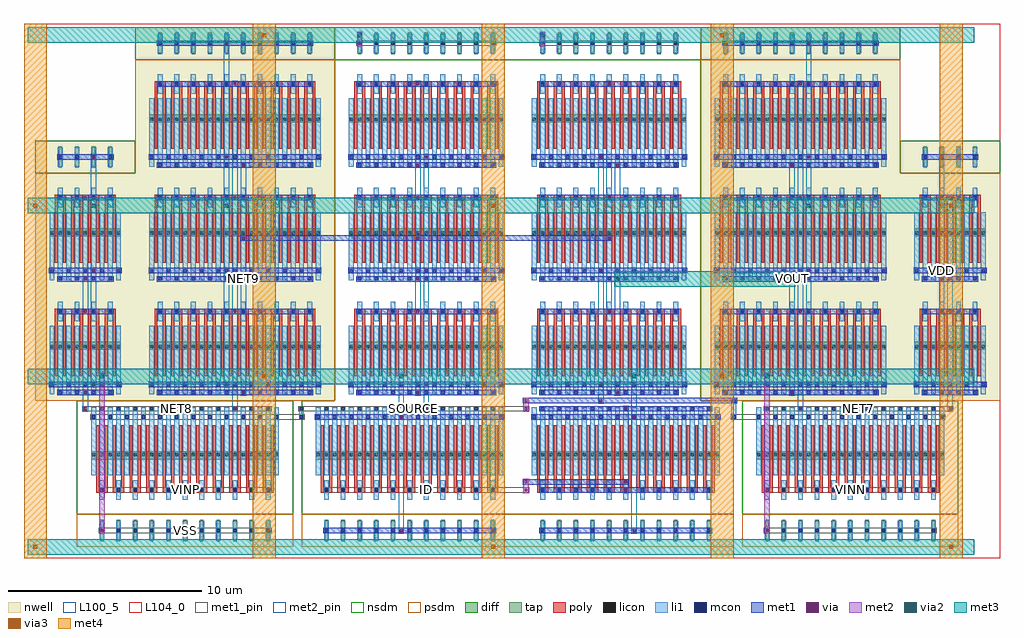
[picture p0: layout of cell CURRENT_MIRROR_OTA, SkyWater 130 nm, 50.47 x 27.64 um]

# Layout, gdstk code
import gdstk
lib = gdstk.Library(unit=1e-6, precision=1e-09)
def R(c, l, rs):  # rectangles x0, y0, x1, y1
    for r in rs: c.add(gdstk.rectangle(r[:2], r[2:], *l))
def A(c, l, x, y, w, h, nx, ny, dx, dy):  # array of equal rectangles
    R(c, l, [(x+i*dx, y+j*dy, x+i*dx+w, y+j*dy+h) for i in range(nx) for j in range(ny)])
nwell = (64, 20)
diff = (65, 20)
tap = (65, 44)
poly = (66, 20)
licon = (66, 44)
li1 = (67, 20)
mcon = (67, 44)
met1_pin = (68, 16)
met1 = (68, 20)
via = (68, 44)
met2_pin = (69, 16)
met2 = (69, 20)
via2 = (69, 44)
met3 = (70, 20)
via3 = (70, 44)
met4 = (71, 20)
nsdm = (93, 44)
psdm = (94, 20)
L100_5 = (100, 5)
L104_0 = (104, 0)

current_mirror_ota = lib.new_cell('CURRENT_MIRROR_OTA')
R(current_mirror_ota, nwell, [(0,7.56,5.16,21), (5.16,7.56,15.48,26.88), (34.4,7.56,44.72,26.88), (44.72,7.56,49.88,21)])
A(current_mirror_ota, diff, 5.895, 10.185, 8.85, 0.42, 1, 3, 0, 5.88)
A(current_mirror_ota, diff, 16.215, 10.185, 7.99, 0.42, 1, 3, 0, 5.88)
A(current_mirror_ota, diff, 25.675, 10.185, 7.99, 0.42, 1, 3, 0, 5.88)
A(current_mirror_ota, diff, 35.135, 10.185, 8.85, 0.42, 1, 3, 0, 5.88)
R(current_mirror_ota, diff, [(2.885,4.515,12.595,4.935), (14.495,4.515,24.205,4.935), (25.675,4.515,35.385,4.935), (37.285,4.515,46.995,4.935), (0.735,10.185,4.425,10.605), (45.455,10.185,49.145,10.605), (0.735,16.065,4.425,16.485), (45.455,16.065,49.145,16.485)])
A(current_mirror_ota, tap, 3.355, 0.28, 0.17, 1.12, 11, 1, 0.86, 0)
A(current_mirror_ota, tap, 14.965, 0.28, 0.17, 1.12, 11, 1, 0.86, 0)
A(current_mirror_ota, tap, 26.145, 0.28, 0.17, 1.12, 11, 1, 0.86, 0)
A(current_mirror_ota, tap, 37.755, 0.28, 0.17, 1.12, 11, 1, 0.86, 0)
A(current_mirror_ota, tap, 1.205, 19.6, 0.17, 1.12, 4, 1, 0.86, 0)
A(current_mirror_ota, tap, 45.925, 19.6, 0.17, 1.12, 4, 1, 0.86, 0)
A(current_mirror_ota, tap, 6.365, 25.48, 0.17, 1.12, 10, 1, 0.86, 0)
A(current_mirror_ota, tap, 16.685, 25.48, 0.17, 1.12, 9, 1, 0.86, 0)
A(current_mirror_ota, tap, 26.145, 25.48, 0.17, 1.12, 9, 1, 0.86, 0)
A(current_mirror_ota, tap, 35.605, 25.48, 0.17, 1.12, 10, 1, 0.86, 0)
A(current_mirror_ota, poly, 3.15, 2.805, 0.58, 0.27, 11, 1, 0.86, 0)
A(current_mirror_ota, poly, 14.76, 2.805, 0.58, 0.27, 11, 1, 0.86, 0)
A(current_mirror_ota, poly, 25.94, 2.805, 0.58, 0.27, 11, 1, 0.86, 0)
A(current_mirror_ota, poly, 37.55, 2.805, 0.58, 0.27, 11, 1, 0.86, 0)
A(current_mirror_ota, poly, 3.15, 2.94, 0.15, 3.36, 22, 1, 0.43, 0)
A(current_mirror_ota, poly, 14.76, 2.94, 0.15, 3.36, 22, 1, 0.43, 0)
A(current_mirror_ota, poly, 25.94, 2.94, 0.15, 3.36, 22, 1, 0.43, 0)
A(current_mirror_ota, poly, 37.55, 2.94, 0.15, 3.36, 22, 1, 0.43, 0)
A(current_mirror_ota, poly, 1, 8.82, 0.15, 3.36, 8, 2, 0.43, 5.88)
A(current_mirror_ota, poly, 6.16, 8.82, 0.15, 3.36, 20, 3, 0.43, 5.88)
A(current_mirror_ota, poly, 16.48, 8.82, 0.15, 3.36, 18, 3, 0.43, 5.88)
A(current_mirror_ota, poly, 25.94, 8.82, 0.15, 3.36, 18, 3, 0.43, 5.88)
A(current_mirror_ota, poly, 35.4, 8.82, 0.15, 3.36, 20, 3, 0.43, 5.88)
A(current_mirror_ota, poly, 45.72, 8.82, 0.15, 3.36, 8, 2, 0.43, 5.88)
A(current_mirror_ota, poly, 1, 12.045, 0.58, 0.27, 4, 2, 0.86, 5.88)
A(current_mirror_ota, poly, 6.16, 12.045, 0.58, 0.27, 10, 3, 0.86, 5.88)
A(current_mirror_ota, poly, 16.48, 12.045, 0.58, 0.27, 9, 3, 0.86, 5.88)
A(current_mirror_ota, poly, 25.94, 12.045, 0.58, 0.27, 9, 3, 0.86, 5.88)
A(current_mirror_ota, poly, 35.4, 12.045, 0.58, 0.27, 10, 3, 0.86, 5.88)
A(current_mirror_ota, poly, 45.72, 12.045, 0.58, 0.27, 4, 2, 0.86, 5.88)
A(current_mirror_ota, licon, 3.355, 0.755, 0.17, 0.17, 11, 2, 0.86, 2.1)
A(current_mirror_ota, licon, 14.965, 0.755, 0.17, 0.17, 11, 2, 0.86, 2.1)
A(current_mirror_ota, licon, 26.145, 0.755, 0.17, 0.17, 11, 2, 0.86, 2.1)
A(current_mirror_ota, licon, 37.755, 0.755, 0.17, 0.17, 11, 2, 0.86, 2.1)
A(current_mirror_ota, licon, 2.925, 4.685, 0.17, 0.17, 3, 1, 0.43, 0)
A(current_mirror_ota, licon, 3.785, 4.685, 0.17, 0.17, 3, 1, 0.43, 0)
A(current_mirror_ota, licon, 4.645, 4.685, 0.17, 0.17, 3, 1, 0.43, 0)
A(current_mirror_ota, licon, 5.505, 4.685, 0.17, 0.17, 3, 1, 0.43, 0)
A(current_mirror_ota, licon, 6.365, 4.685, 0.17, 0.17, 3, 1, 0.43, 0)
A(current_mirror_ota, licon, 7.225, 4.685, 0.17, 0.17, 3, 1, 0.43, 0)
A(current_mirror_ota, licon, 8.085, 4.685, 0.17, 0.17, 3, 1, 0.43, 0)
A(current_mirror_ota, licon, 8.945, 4.685, 0.17, 0.17, 3, 1, 0.43, 0)
A(current_mirror_ota, licon, 9.805, 4.685, 0.17, 0.17, 3, 1, 0.43, 0)
A(current_mirror_ota, licon, 10.665, 4.685, 0.17, 0.17, 3, 1, 0.43, 0)
A(current_mirror_ota, licon, 11.525, 4.685, 0.17, 0.17, 3, 1, 0.43, 0)
A(current_mirror_ota, licon, 14.535, 4.685, 0.17, 0.17, 3, 1, 0.43, 0)
A(current_mirror_ota, licon, 15.395, 4.685, 0.17, 0.17, 3, 1, 0.43, 0)
A(current_mirror_ota, licon, 16.255, 4.685, 0.17, 0.17, 3, 2, 0.43, 5.58)
A(current_mirror_ota, licon, 17.115, 4.685, 0.17, 0.17, 3, 2, 0.43, 5.58)
A(current_mirror_ota, licon, 17.975, 4.685, 0.17, 0.17, 3, 2, 0.43, 5.58)
A(current_mirror_ota, licon, 18.835, 4.685, 0.17, 0.17, 3, 2, 0.43, 5.58)
A(current_mirror_ota, licon, 19.695, 4.685, 0.17, 0.17, 3, 2, 0.43, 5.58)
A(current_mirror_ota, licon, 20.555, 4.685, 0.17, 0.17, 3, 2, 0.43, 5.58)
A(current_mirror_ota, licon, 21.415, 4.685, 0.17, 0.17, 3, 2, 0.43, 5.58)
A(current_mirror_ota, licon, 22.275, 4.685, 0.17, 0.17, 3, 2, 0.43, 5.58)
A(current_mirror_ota, licon, 23.135, 4.685, 0.17, 0.17, 3, 2, 0.43, 5.58)
A(current_mirror_ota, licon, 25.715, 4.685, 0.17, 0.17, 3, 2, 0.43, 5.58)
A(current_mirror_ota, licon, 26.575, 4.685, 0.17, 0.17, 3, 2, 0.43, 5.58)
A(current_mirror_ota, licon, 27.435, 4.685, 0.17, 0.17, 3, 2, 0.43, 5.58)
A(current_mirror_ota, licon, 28.295, 4.685, 0.17, 0.17, 3, 2, 0.43, 5.58)
A(current_mirror_ota, licon, 29.155, 4.685, 0.17, 0.17, 3, 2, 0.43, 5.58)
A(current_mirror_ota, licon, 30.015, 4.685, 0.17, 0.17, 3, 2, 0.43, 5.58)
A(current_mirror_ota, licon, 30.875, 4.685, 0.17, 0.17, 3, 2, 0.43, 5.58)
A(current_mirror_ota, licon, 31.735, 4.685, 0.17, 0.17, 3, 2, 0.43, 5.58)
A(current_mirror_ota, licon, 32.595, 4.685, 0.17, 0.17, 3, 2, 0.43, 5.58)
A(current_mirror_ota, licon, 33.455, 4.685, 0.17, 0.17, 3, 1, 0.43, 0)
A(current_mirror_ota, licon, 34.315, 4.685, 0.17, 0.17, 3, 1, 0.43, 0)
A(current_mirror_ota, licon, 37.325, 4.685, 0.17, 0.17, 3, 1, 0.43, 0)
A(current_mirror_ota, licon, 38.185, 4.685, 0.17, 0.17, 3, 1, 0.43, 0)
A(current_mirror_ota, licon, 39.045, 4.685, 0.17, 0.17, 3, 1, 0.43, 0)
A(current_mirror_ota, licon, 39.905, 4.685, 0.17, 0.17, 3, 1, 0.43, 0)
A(current_mirror_ota, licon, 40.765, 4.685, 0.17, 0.17, 3, 1, 0.43, 0)
A(current_mirror_ota, licon, 41.625, 4.685, 0.17, 0.17, 3, 1, 0.43, 0)
A(current_mirror_ota, licon, 42.485, 4.685, 0.17, 0.17, 3, 1, 0.43, 0)
A(current_mirror_ota, licon, 43.345, 4.685, 0.17, 0.17, 3, 1, 0.43, 0)
A(current_mirror_ota, licon, 44.205, 4.685, 0.17, 0.17, 3, 1, 0.43, 0)
A(current_mirror_ota, licon, 45.065, 4.685, 0.17, 0.17, 3, 1, 0.43, 0)
A(current_mirror_ota, licon, 45.925, 4.685, 0.17, 0.17, 3, 1, 0.43, 0)
A(current_mirror_ota, licon, 0.775, 10.265, 0.17, 0.17, 3, 2, 0.43, 5.88)
A(current_mirror_ota, licon, 1.635, 10.265, 0.17, 0.17, 3, 2, 0.43, 5.88)
A(current_mirror_ota, licon, 2.495, 10.265, 0.17, 0.17, 3, 2, 0.43, 5.88)
A(current_mirror_ota, licon, 3.355, 10.265, 0.17, 0.17, 3, 2, 0.43, 5.88)
A(current_mirror_ota, licon, 5.935, 10.265, 0.17, 0.17, 3, 3, 0.43, 5.88)
A(current_mirror_ota, licon, 6.795, 10.265, 0.17, 0.17, 3, 3, 0.43, 5.88)
A(current_mirror_ota, licon, 7.655, 10.265, 0.17, 0.17, 3, 3, 0.43, 5.88)
A(current_mirror_ota, licon, 8.515, 10.265, 0.17, 0.17, 3, 3, 0.43, 5.88)
A(current_mirror_ota, licon, 9.375, 10.265, 0.17, 0.17, 3, 3, 0.43, 5.88)
A(current_mirror_ota, licon, 10.235, 10.265, 0.17, 0.17, 3, 3, 0.43, 5.88)
A(current_mirror_ota, licon, 11.095, 10.265, 0.17, 0.17, 3, 3, 0.43, 5.88)
A(current_mirror_ota, licon, 11.955, 10.265, 0.17, 0.17, 3, 3, 0.43, 5.88)
A(current_mirror_ota, licon, 12.815, 10.265, 0.17, 0.17, 3, 3, 0.43, 5.88)
A(current_mirror_ota, licon, 13.675, 10.265, 0.17, 0.17, 3, 3, 0.43, 5.88)
A(current_mirror_ota, licon, 35.175, 10.265, 0.17, 0.17, 3, 3, 0.43, 5.88)
A(current_mirror_ota, licon, 36.035, 10.265, 0.17, 0.17, 3, 3, 0.43, 5.88)
A(current_mirror_ota, licon, 36.895, 10.265, 0.17, 0.17, 3, 3, 0.43, 5.88)
A(current_mirror_ota, licon, 37.755, 10.265, 0.17, 0.17, 3, 3, 0.43, 5.88)
A(current_mirror_ota, licon, 38.615, 10.265, 0.17, 0.17, 3, 3, 0.43, 5.88)
A(current_mirror_ota, licon, 39.475, 10.265, 0.17, 0.17, 3, 3, 0.43, 5.88)
A(current_mirror_ota, licon, 40.335, 10.265, 0.17, 0.17, 3, 3, 0.43, 5.88)
A(current_mirror_ota, licon, 41.195, 10.265, 0.17, 0.17, 3, 3, 0.43, 5.88)
A(current_mirror_ota, licon, 42.055, 10.265, 0.17, 0.17, 3, 3, 0.43, 5.88)
A(current_mirror_ota, licon, 42.915, 10.265, 0.17, 0.17, 3, 3, 0.43, 5.88)
A(current_mirror_ota, licon, 45.495, 10.265, 0.17, 0.17, 3, 2, 0.43, 5.88)
A(current_mirror_ota, licon, 46.355, 10.265, 0.17, 0.17, 3, 2, 0.43, 5.88)
A(current_mirror_ota, licon, 47.215, 10.265, 0.17, 0.17, 3, 2, 0.43, 5.88)
A(current_mirror_ota, licon, 48.075, 10.265, 0.17, 0.17, 3, 2, 0.43, 5.88)
A(current_mirror_ota, licon, 1.205, 12.095, 0.17, 0.17, 4, 2, 0.86, 5.88)
A(current_mirror_ota, licon, 6.365, 12.095, 0.17, 0.17, 10, 3, 0.86, 5.88)
A(current_mirror_ota, licon, 16.685, 12.095, 0.17, 0.17, 9, 3, 0.86, 5.88)
A(current_mirror_ota, licon, 26.145, 12.095, 0.17, 0.17, 9, 3, 0.86, 5.88)
A(current_mirror_ota, licon, 35.605, 12.095, 0.17, 0.17, 10, 3, 0.86, 5.88)
A(current_mirror_ota, licon, 45.925, 12.095, 0.17, 0.17, 4, 2, 0.86, 5.88)
A(current_mirror_ota, licon, 16.255, 16.145, 0.17, 0.17, 3, 2, 0.43, 5.88)
A(current_mirror_ota, licon, 17.115, 16.145, 0.17, 0.17, 3, 2, 0.43, 5.88)
A(current_mirror_ota, licon, 17.975, 16.145, 0.17, 0.17, 3, 2, 0.43, 5.88)
A(current_mirror_ota, licon, 18.835, 16.145, 0.17, 0.17, 3, 2, 0.43, 5.88)
A(current_mirror_ota, licon, 19.695, 16.145, 0.17, 0.17, 3, 2, 0.43, 5.88)
A(current_mirror_ota, licon, 20.555, 16.145, 0.17, 0.17, 3, 2, 0.43, 5.88)
A(current_mirror_ota, licon, 21.415, 16.145, 0.17, 0.17, 3, 2, 0.43, 5.88)
A(current_mirror_ota, licon, 22.275, 16.145, 0.17, 0.17, 3, 2, 0.43, 5.88)
A(current_mirror_ota, licon, 23.135, 16.145, 0.17, 0.17, 3, 2, 0.43, 5.88)
A(current_mirror_ota, licon, 25.715, 16.145, 0.17, 0.17, 3, 2, 0.43, 5.88)
A(current_mirror_ota, licon, 26.575, 16.145, 0.17, 0.17, 3, 2, 0.43, 5.88)
A(current_mirror_ota, licon, 27.435, 16.145, 0.17, 0.17, 3, 2, 0.43, 5.88)
A(current_mirror_ota, licon, 28.295, 16.145, 0.17, 0.17, 3, 2, 0.43, 5.88)
A(current_mirror_ota, licon, 29.155, 16.145, 0.17, 0.17, 3, 2, 0.43, 5.88)
A(current_mirror_ota, licon, 30.015, 16.145, 0.17, 0.17, 3, 2, 0.43, 5.88)
A(current_mirror_ota, licon, 30.875, 16.145, 0.17, 0.17, 3, 2, 0.43, 5.88)
A(current_mirror_ota, licon, 31.735, 16.145, 0.17, 0.17, 3, 2, 0.43, 5.88)
A(current_mirror_ota, licon, 32.595, 16.145, 0.17, 0.17, 3, 2, 0.43, 5.88)
R(current_mirror_ota, licon, [(1.205,20.075,1.375,20.245), (1.205,20.075,1.375,20.245), (2.065,20.075,2.235,20.245), (2.065,20.075,2.235,20.245), (2.925,20.075,3.095,20.245), (2.925,20.075,3.095,20.245), (3.785,20.075,3.955,20.245), (3.785,20.075,3.955,20.245), (45.925,20.075,46.095,20.245), (45.925,20.075,46.095,20.245), (46.785,20.075,46.955,20.245), (46.785,20.075,46.955,20.245), (47.645,20.075,47.815,20.245), (47.645,20.075,47.815,20.245), (48.505,20.075,48.675,20.245), (48.505,20.075,48.675,20.245), (6.365,25.955,6.535,26.125), (6.365,25.955,6.535,26.125), (6.365,25.955,6.535,26.125), (7.225,25.955,7.395,26.125), (7.225,25.955,7.395,26.125), (7.225,25.955,7.395,26.125), (8.085,25.955,8.255,26.125), (8.085,25.955,8.255,26.125), (8.085,25.955,8.255,26.125), (8.945,25.955,9.115,26.125), (8.945,25.955,9.115,26.125), (8.945,25.955,9.115,26.125), (9.805,25.955,9.975,26.125), (9.805,25.955,9.975,26.125), (9.805,25.955,9.975,26.125), (10.665,25.955,10.835,26.125), (10.665,25.955,10.835,26.125), (10.665,25.955,10.835,26.125), (11.525,25.955,11.695,26.125), (11.525,25.955,11.695,26.125), (11.525,25.955,11.695,26.125), (12.385,25.955,12.555,26.125), (12.385,25.955,12.555,26.125), (12.385,25.955,12.555,26.125), (13.245,25.955,13.415,26.125), (13.245,25.955,13.415,26.125), (13.245,25.955,13.415,26.125), (14.105,25.955,14.275,26.125), (14.105,25.955,14.275,26.125), (14.105,25.955,14.275,26.125), (16.685,25.955,16.855,26.125), (16.685,25.955,16.855,26.125), (16.685,25.955,16.855,26.125), (17.545,25.955,17.715,26.125), (17.545,25.955,17.715,26.125), (17.545,25.955,17.715,26.125), (18.405,25.955,18.575,26.125), (18.405,25.955,18.575,26.125), (18.405,25.955,18.575,26.125), (19.265,25.955,19.435,26.125), (19.265,25.955,19.435,26.125), (19.265,25.955,19.435,26.125), (20.125,25.955,20.295,26.125), (20.125,25.955,20.295,26.125), (20.125,25.955,20.295,26.125), (20.985,25.955,21.155,26.125), (20.985,25.955,21.155,26.125), (20.985,25.955,21.155,26.125), (21.845,25.955,22.015,26.125), (21.845,25.955,22.015,26.125), (21.845,25.955,22.015,26.125), (22.705,25.955,22.875,26.125), (22.705,25.955,22.875,26.125), (22.705,25.955,22.875,26.125), (23.565,25.955,23.735,26.125), (23.565,25.955,23.735,26.125), (23.565,25.955,23.735,26.125), (26.145,25.955,26.315,26.125), (26.145,25.955,26.315,26.125), (26.145,25.955,26.315,26.125), (27.005,25.955,27.175,26.125), (27.005,25.955,27.175,26.125), (27.005,25.955,27.175,26.125), (27.865,25.955,28.035,26.125), (27.865,25.955,28.035,26.125), (27.865,25.955,28.035,26.125), (28.725,25.955,28.895,26.125), (28.725,25.955,28.895,26.125), (28.725,25.955,28.895,26.125), (29.585,25.955,29.755,26.125), (29.585,25.955,29.755,26.125), (29.585,25.955,29.755,26.125), (30.445,25.955,30.615,26.125), (30.445,25.955,30.615,26.125), (30.445,25.955,30.615,26.125), (31.305,25.955,31.475,26.125), (31.305,25.955,31.475,26.125), (31.305,25.955,31.475,26.125), (32.165,25.955,32.335,26.125), (32.165,25.955,32.335,26.125), (32.165,25.955,32.335,26.125), (33.025,25.955,33.195,26.125), (33.025,25.955,33.195,26.125), (33.025,25.955,33.195,26.125), (35.605,25.955,35.775,26.125), (35.605,25.955,35.775,26.125), (35.605,25.955,35.775,26.125), (36.465,25.955,36.635,26.125), (36.465,25.955,36.635,26.125), (36.465,25.955,36.635,26.125), (37.325,25.955,37.495,26.125), (37.325,25.955,37.495,26.125), (37.325,25.955,37.495,26.125), (38.185,25.955,38.355,26.125), (38.185,25.955,38.355,26.125), (38.185,25.955,38.355,26.125), (39.045,25.955,39.215,26.125), (39.045,25.955,39.215,26.125), (39.045,25.955,39.215,26.125), (39.905,25.955,40.075,26.125), (39.905,25.955,40.075,26.125), (39.905,25.955,40.075,26.125), (40.765,25.955,40.935,26.125), (40.765,25.955,40.935,26.125), (40.765,25.955,40.935,26.125), (41.625,25.955,41.795,26.125), (41.625,25.955,41.795,26.125), (41.625,25.955,41.795,26.125), (42.485,25.955,42.655,26.125), (42.485,25.955,42.655,26.125), (42.485,25.955,42.655,26.125), (43.345,25.955,43.515,26.125), (43.345,25.955,43.515,26.125), (43.345,25.955,43.515,26.125)])
A(current_mirror_ota, li1, 3.315, 0.335, 0.25, 1.01, 11, 2, 0.86, 2.1)
A(current_mirror_ota, li1, 14.925, 0.335, 0.25, 1.01, 11, 2, 0.86, 2.1)
A(current_mirror_ota, li1, 26.105, 0.335, 0.25, 1.01, 11, 2, 0.86, 2.1)
A(current_mirror_ota, li1, 37.715, 0.335, 0.25, 1.01, 11, 2, 0.86, 2.1)
A(current_mirror_ota, li1, 2.885, 3.695, 0.25, 3.53, 23, 1, 0.43, 0)
A(current_mirror_ota, li1, 14.495, 3.695, 0.25, 3.53, 23, 1, 0.43, 0)
A(current_mirror_ota, li1, 25.675, 3.695, 0.25, 3.53, 23, 1, 0.43, 0)
A(current_mirror_ota, li1, 37.285, 3.695, 0.25, 3.53, 23, 1, 0.43, 0)
A(current_mirror_ota, li1, 0.735, 7.895, 0.25, 3.53, 9, 2, 0.43, 5.88)
A(current_mirror_ota, li1, 5.895, 7.895, 0.25, 3.53, 21, 3, 0.43, 5.88)
A(current_mirror_ota, li1, 16.215, 7.895, 0.25, 3.53, 19, 3, 0.43, 5.88)
A(current_mirror_ota, li1, 25.675, 7.895, 0.25, 3.53, 19, 3, 0.43, 5.88)
A(current_mirror_ota, li1, 35.135, 7.895, 0.25, 3.53, 21, 3, 0.43, 5.88)
A(current_mirror_ota, li1, 45.455, 7.895, 0.25, 3.53, 9, 2, 0.43, 5.88)
A(current_mirror_ota, li1, 1.165, 11.675, 0.25, 1.01, 4, 2, 0.86, 5.88)
A(current_mirror_ota, li1, 6.325, 11.675, 0.25, 1.01, 10, 3, 0.86, 5.88)
A(current_mirror_ota, li1, 16.645, 11.675, 0.25, 1.01, 9, 3, 0.86, 5.88)
A(current_mirror_ota, li1, 26.105, 11.675, 0.25, 1.01, 9, 3, 0.86, 5.88)
A(current_mirror_ota, li1, 35.565, 11.675, 0.25, 1.01, 10, 3, 0.86, 5.88)
A(current_mirror_ota, li1, 45.885, 11.675, 0.25, 1.01, 4, 2, 0.86, 5.88)
A(current_mirror_ota, li1, 1.165, 19.655, 0.25, 1.01, 4, 1, 0.86, 0)
A(current_mirror_ota, li1, 45.885, 19.655, 0.25, 1.01, 4, 1, 0.86, 0)
A(current_mirror_ota, li1, 6.325, 25.535, 0.25, 1.01, 10, 1, 0.86, 0)
A(current_mirror_ota, li1, 16.645, 25.535, 0.25, 1.01, 9, 1, 0.86, 0)
A(current_mirror_ota, li1, 26.105, 25.535, 0.25, 1.01, 9, 1, 0.86, 0)
A(current_mirror_ota, li1, 35.565, 25.535, 0.25, 1.01, 10, 1, 0.86, 0)
R(current_mirror_ota, li1, [(13.635,6.635,13.885,7.225), (35.995,6.635,36.245,7.645)])
A(current_mirror_ota, mcon, 3.355, 0.755, 0.17, 0.17, 11, 2, 0.86, 2.1)
A(current_mirror_ota, mcon, 14.965, 0.755, 0.17, 0.17, 11, 2, 0.86, 2.1)
A(current_mirror_ota, mcon, 26.145, 0.755, 0.17, 0.17, 11, 2, 0.86, 2.1)
A(current_mirror_ota, mcon, 37.755, 0.755, 0.17, 0.17, 11, 2, 0.86, 2.1)
A(current_mirror_ota, mcon, 2.925, 6.635, 0.17, 0.17, 12, 1, 0.86, 0)
A(current_mirror_ota, mcon, 13.675, 6.635, 0.17, 0.17, 13, 1, 0.86, 0)
A(current_mirror_ota, mcon, 25.715, 6.635, 0.17, 0.17, 13, 1, 0.86, 0)
A(current_mirror_ota, mcon, 37.325, 6.635, 0.17, 0.17, 12, 1, 0.86, 0)
A(current_mirror_ota, mcon, 3.355, 7.055, 0.17, 0.17, 11, 1, 0.86, 0)
A(current_mirror_ota, mcon, 14.965, 7.055, 0.17, 0.17, 11, 1, 0.86, 0)
A(current_mirror_ota, mcon, 26.145, 7.055, 0.17, 0.17, 11, 1, 0.86, 0)
A(current_mirror_ota, mcon, 37.755, 7.055, 0.17, 0.17, 11, 1, 0.86, 0)
A(current_mirror_ota, mcon, 1.205, 7.895, 0.17, 0.17, 4, 2, 0.86, 4.2)
A(current_mirror_ota, mcon, 6.365, 7.895, 0.17, 0.17, 10, 2, 0.86, 4.2)
A(current_mirror_ota, mcon, 16.685, 7.895, 0.17, 0.17, 9, 2, 0.86, 4.2)
A(current_mirror_ota, mcon, 26.145, 7.895, 0.17, 0.17, 9, 2, 0.86, 4.2)
A(current_mirror_ota, mcon, 35.605, 7.895, 0.17, 0.17, 10, 2, 0.86, 4.2)
A(current_mirror_ota, mcon, 45.925, 7.895, 0.17, 0.17, 4, 2, 0.86, 4.2)
A(current_mirror_ota, mcon, 0.775, 8.315, 0.17, 0.17, 5, 2, 0.86, 5.88)
A(current_mirror_ota, mcon, 5.935, 8.315, 0.17, 0.17, 11, 3, 0.86, 5.88)
A(current_mirror_ota, mcon, 16.255, 8.315, 0.17, 0.17, 10, 3, 0.86, 5.88)
A(current_mirror_ota, mcon, 25.715, 8.315, 0.17, 0.17, 10, 3, 0.86, 5.88)
A(current_mirror_ota, mcon, 35.175, 8.315, 0.17, 0.17, 11, 3, 0.86, 5.88)
A(current_mirror_ota, mcon, 45.495, 8.315, 0.17, 0.17, 5, 2, 0.86, 5.88)
A(current_mirror_ota, mcon, 1.205, 13.775, 0.17, 0.17, 4, 2, 0.86, 4.2)
A(current_mirror_ota, mcon, 6.365, 13.775, 0.17, 0.17, 10, 2, 0.86, 4.2)
A(current_mirror_ota, mcon, 16.685, 13.775, 0.17, 0.17, 9, 2, 0.86, 4.2)
A(current_mirror_ota, mcon, 26.145, 13.775, 0.17, 0.17, 9, 2, 0.86, 4.2)
A(current_mirror_ota, mcon, 35.605, 13.775, 0.17, 0.17, 10, 2, 0.86, 4.2)
A(current_mirror_ota, mcon, 45.925, 13.775, 0.17, 0.17, 4, 2, 0.86, 4.2)
A(current_mirror_ota, mcon, 6.365, 19.655, 0.17, 0.17, 10, 2, 0.86, 4.2)
A(current_mirror_ota, mcon, 16.685, 19.655, 0.17, 0.17, 9, 2, 0.86, 4.2)
A(current_mirror_ota, mcon, 26.145, 19.655, 0.17, 0.17, 9, 2, 0.86, 4.2)
A(current_mirror_ota, mcon, 35.605, 19.655, 0.17, 0.17, 10, 2, 0.86, 4.2)
A(current_mirror_ota, mcon, 1.205, 20.075, 0.17, 0.17, 4, 1, 0.86, 0)
A(current_mirror_ota, mcon, 45.925, 20.075, 0.17, 0.17, 4, 1, 0.86, 0)
A(current_mirror_ota, mcon, 6.365, 25.955, 0.17, 0.17, 10, 1, 0.86, 0)
A(current_mirror_ota, mcon, 16.685, 25.955, 0.17, 0.17, 9, 1, 0.86, 0)
A(current_mirror_ota, mcon, 26.145, 25.955, 0.17, 0.17, 9, 1, 0.86, 0)
A(current_mirror_ota, mcon, 35.605, 25.955, 0.17, 0.17, 10, 1, 0.86, 0)
R(current_mirror_ota, mcon, [(13.675,7.055,13.845,7.225), (36.035,7.475,36.205,7.645)])
R(current_mirror_ota, met1_pin, [(3.27,0.7,12.21,0.98), (37.67,0.7,46.61,0.98), (3.27,2.8,12.21,3.08), (14.88,2.8,25.53,3.08), (37.67,2.8,46.61,3.08), (2.84,6.58,13.93,6.86), (35.95,6.58,47.04,6.86), (2.42,7,12.21,7.28), (13.59,7,25.53,7.28), (37.67,7,47.46,7.28), (16.6,25.9,23.82,26.18), (26.06,25.9,33.28,26.18)])
A(current_mirror_ota, met1, 5.85, 8.26, 8.94, 0.28, 1, 3, 0, 5.88)
A(current_mirror_ota, met1, 16.17, 8.26, 8.08, 0.28, 1, 3, 0, 5.88)
A(current_mirror_ota, met1, 25.63, 8.26, 8.08, 0.28, 1, 3, 0, 5.88)
A(current_mirror_ota, met1, 35.09, 8.26, 8.94, 0.28, 1, 3, 0, 5.88)
R(current_mirror_ota, met1, [(14.88,0.7,23.82,0.98), (26.06,0.7,35,0.98), (26.06,2.8,35,3.08), (25.21,3.22,30.69,3.5), (14.45,6.58,24.25,6.86), (25.63,6.58,35.43,6.86), (26.06,7,35,7.28), (25.21,7.42,36.29,7.7), (1.12,7.84,4.04,8.12), (6.28,7.84,14.36,8.12), (16.6,7.84,23.82,8.12), (26.06,7.84,33.28,8.12), (35.52,7.84,43.6,8.12), (45.84,7.84,48.76,8.12), (0.69,8.26,4.47,8.54), (45.41,8.26,49.19,8.54), (1.12,12.04,4.04,12.32), (6.28,12.04,14.36,12.32), (16.6,12.04,23.82,12.32), (26.06,12.04,33.28,12.32), (35.52,12.04,43.6,12.32), (45.84,12.04,48.76,12.32), (1.12,13.72,4.04,14), (6.28,13.72,14.36,14), (16.6,13.72,23.82,14), (26.06,13.72,33.28,14), (35.52,13.72,43.6,14), (45.84,13.72,48.76,14), (0.69,14.14,4.47,14.42), (45.41,14.14,49.19,14.42), (10.59,15.82,29.83,16.1), (1.12,17.92,4.04,18.2), (6.28,17.92,14.36,18.2), (16.6,17.92,23.82,18.2), (26.06,17.92,33.28,18.2), (35.52,17.92,43.6,18.2), (45.84,17.92,48.76,18.2), (6.28,19.6,14.36,19.88), (16.6,19.6,23.82,19.88), (26.06,19.6,33.28,19.88), (35.52,19.6,43.6,19.88), (1.12,20.02,4.04,20.3), (45.84,20.02,48.76,20.3), (6.28,23.8,14.36,24.08), (16.6,23.8,23.82,24.08), (26.06,23.8,33.28,24.08), (35.52,23.8,43.6,24.08), (6.28,25.9,14.36,26.18), (35.52,25.9,43.6,26.18)])
A(current_mirror_ota, via, 20.135, 7.065, 0.15, 0.15, 3, 1, 5.16, 0)
A(current_mirror_ota, via, 30.025, 7.905, 0.15, 0.15, 1, 3, 0, 5.88)
A(current_mirror_ota, via, 39.055, 7.905, 0.15, 0.15, 1, 3, 0, 5.88)
A(current_mirror_ota, via, 2.935, 8.325, 0.15, 0.15, 1, 3, 0, 5.88)
A(current_mirror_ota, via, 9.815, 8.325, 0.15, 0.15, 1, 4, 0, 5.88)
A(current_mirror_ota, via, 20.135, 8.325, 0.15, 0.15, 1, 3, 0, 5.88)
A(current_mirror_ota, via, 29.165, 8.325, 0.15, 0.15, 1, 3, 0, 5.88)
A(current_mirror_ota, via, 39.915, 8.325, 0.15, 0.15, 1, 4, 0, 5.88)
A(current_mirror_ota, via, 46.795, 8.325, 0.15, 0.15, 1, 3, 0, 5.88)
A(current_mirror_ota, via, 10.245, 12.105, 0.15, 0.15, 1, 3, 0, 5.88)
A(current_mirror_ota, via, 19.705, 12.105, 0.15, 0.15, 3, 3, 9.89, 5.88)
R(current_mirror_ota, via, [(3.365,0.765,3.515,0.915), (18.845,0.765,18.995,0.915), (30.885,0.765,31.035,0.915), (37.765,0.765,37.915,0.915), (25.295,2.865,25.445,3.015), (30.455,2.865,30.605,3.015), (25.295,3.285,25.445,3.435), (30.455,3.285,30.605,3.435), (18.845,6.645,18.995,6.795), (30.885,6.645,31.035,6.795), (2.505,7.065,2.655,7.215), (10.245,7.065,10.395,7.215), (39.485,7.065,39.635,7.215), (47.225,7.065,47.375,7.215), (25.295,7.485,25.445,7.635), (29.165,7.485,29.315,7.635), (2.505,7.905,2.655,8.055), (10.675,7.905,10.825,8.055), (19.705,7.905,19.855,8.055), (47.225,7.905,47.375,8.055), (2.505,12.105,2.655,12.255), (47.225,12.105,47.375,12.255), (2.505,13.785,2.655,13.935), (10.675,13.785,10.825,13.935), (19.705,13.785,19.855,13.935), (47.225,13.785,47.375,13.935), (10.675,15.885,10.825,16.035), (19.705,15.885,19.855,16.035), (29.595,15.885,29.745,16.035), (2.505,17.985,2.655,18.135), (47.225,17.985,47.375,18.135), (10.675,19.665,10.825,19.815), (19.705,19.665,19.855,19.815), (16.695,25.965,16.845,26.115), (26.155,25.965,26.305,26.115)])
R(current_mirror_ota, met2_pin, [(18.78,0.68,19.06,9.005), (30.82,0.68,31.1,9.005), (30.39,2.78,30.67,7.3), (2.44,6.98,2.72,18.22), (10.18,6.98,10.46,24.1), (20.07,6.98,20.35,20.32), (39.42,6.98,39.7,24.1), (47.16,6.98,47.44,18.22), (29.1,7.4,29.38,20.32), (10.61,7.82,10.89,19.9), (19.64,7.82,19.92,24.1), (29.96,7.82,30.24,19.9), (38.99,7.82,39.27,19.9), (2.87,8.24,3.15,20.32), (9.75,8.24,10.03,26.2), (39.85,8.24,40.13,26.2), (46.73,8.24,47.01,20.32), (29.53,12.02,29.81,24.1)])
R(current_mirror_ota, met2, [(3.3,0.68,3.58,9.005), (37.7,0.68,37.98,9.005), (25.23,2.78,25.51,3.52), (25.23,6.98,25.51,7.72), (16.63,25.88,16.91,26.645), (26.09,25.88,26.37,26.645)])
R(current_mirror_ota, via2, [(3.34,8.72,3.54,8.92), (18.82,8.72,19.02,8.92), (30.86,8.72,31.06,8.92), (37.74,8.72,37.94,8.92), (30,13.76,30.2,13.96), (39.03,13.76,39.23,13.96), (2.91,17.54,3.11,17.74), (9.79,17.54,9.99,17.74), (39.89,17.54,40.09,17.74), (46.77,17.54,46.97,17.74), (16.67,26.36,16.87,26.56), (26.13,26.36,26.33,26.56)])
A(current_mirror_ota, met3, -0.4, -0.4, 48.96, 0.8, 1, 4, 0, 8.82)
R(current_mirror_ota, met3, [(29.935,13.46,39.295,14.26)])
A(current_mirror_ota, via3, -0.1, -0.1, 0.2, 0.2, 3, 2, 23.68, 17.64)
R(current_mirror_ota, via3, [(11.74,8.72,11.94,8.92), (35.42,8.72,35.62,8.92), (11.74,26.36,11.94,26.56), (35.42,26.36,35.62,26.56)])
A(current_mirror_ota, met4, -0.59, -0.59, 1.18, 27.64, 5, 1, 11.84, 0)
R(current_mirror_ota, nsdm, [(2.15,1.68,13.33,7.56), (13.76,1.68,24.94,7.56), (24.94,1.68,36.12,7.56), (36.55,1.68,47.73,7.56), (15.48,7.56,24.94,25.2), (24.94,7.56,34.4,25.2), (0,19.32,5.16,21), (44.72,19.32,49.88,21), (5.16,25.2,15.48,26.88), (34.4,25.2,44.72,26.88)])
R(current_mirror_ota, psdm, [(2.15,0,13.33,1.68), (13.76,0,24.94,1.68), (24.94,0,36.12,1.68), (36.55,0,47.73,1.68), (0,7.56,5.16,19.32), (5.16,7.56,15.48,25.2), (34.4,7.56,44.72,25.2), (44.72,7.56,49.88,19.32), (15.48,25.2,24.94,26.88), (24.94,25.2,34.4,26.88)])
R(current_mirror_ota, L100_5, [(-0.59,-0.59,49.88,27.05)])
R(current_mirror_ota, L104_0, [(-0.59,-0.59,49.88,27.05)])
current_mirror_ota.add(gdstk.Label('VINP', (7.74,2.94), layer=68, texttype=5))
current_mirror_ota.add(gdstk.Label('ID', (20.205,2.94), layer=68, texttype=5))
current_mirror_ota.add(gdstk.Label('VINN', (42.14,2.94), layer=68, texttype=5))
current_mirror_ota.add(gdstk.Label('NET8', (7.315,7.14), layer=68, texttype=5))
current_mirror_ota.add(gdstk.Label('SOURCE', (19.56,7.14), layer=68, texttype=5))
current_mirror_ota.add(gdstk.Label('NET7', (42.565,7.14), layer=68, texttype=5))
current_mirror_ota.add(gdstk.Label('VSS', (7.74,0.84), layer=68, texttype=5))
current_mirror_ota.add(gdstk.Label('VDD', (46.87,14.28), layer=69, texttype=5))
current_mirror_ota.add(gdstk.Label('NET9', (10.75,13.86), layer=69, texttype=5))
current_mirror_ota.add(gdstk.Label('VOUT', (39.13,13.86), layer=69, texttype=5))

lib.write_gds('CURRENT_MIRROR_OTA.gds')
